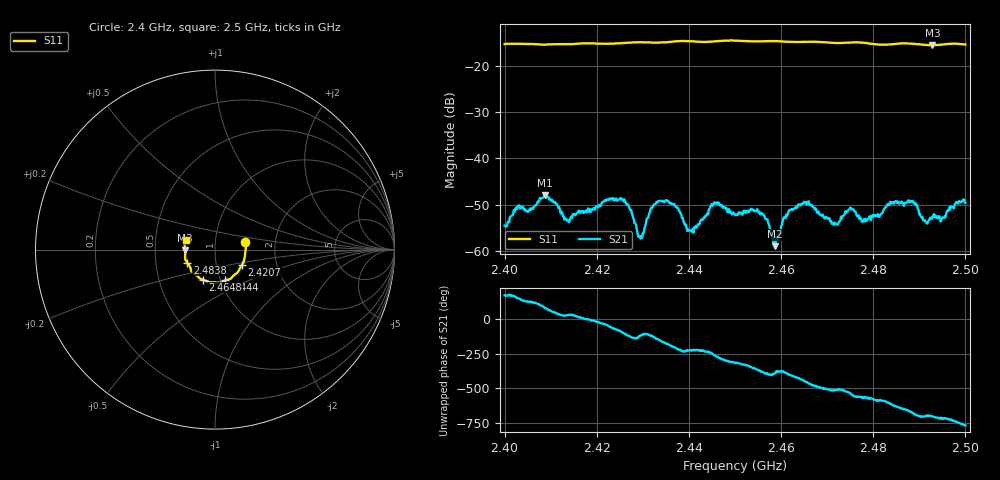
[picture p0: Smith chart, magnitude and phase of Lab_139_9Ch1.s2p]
# Hz S RI R 50
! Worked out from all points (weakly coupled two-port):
!   601 points, 2.4 GHz to 2.5 GHz, reference 50 ohm
!   highest |S21| = -47.95 dB at 2.4087 GHz (marker M1); lowest = -58.9 dB at 2.4587 GHz (marker M2)
!   lowest |S11| = -15.6 dB at 2.4928 GHz (marker M3), VSWR 1.40, Z = 35.7 - j0.297 ohm
!   |S11| at or under -10 dB: start of sweep to end of sweep
!   S12 and S22 are empty: the file has one direction only
!   S11 on the Smith chart (normalised r, x): 2.4 GHz: 1.39, +0.12; 2.4207 GHz: 1.33, -0.24; 2.444 GHz: 1.05, -0.37; 2.4648 GHz: 0.83, -0.29; 2.4838 GHz: 0.73, -0.11; 2.5 GHz: 0.72, +0.08
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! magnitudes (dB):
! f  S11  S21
! 2.4 GHz  -15.3  -54.5
! 2.4087 GHz  -15.4  -47.9
! 2.4135 GHz  -15.3  -53.4
! 2.4167 GHz  -15.2  -51.4
! 2.4207 GHz  -15.2  -50.2
! 2.4257 GHz  -15.1  -48.9
! 2.4295 GHz  -14.9  -57.3
! 2.4333 GHz  -15.0  -49.2
! 2.4372 GHz  -14.7  -50.3
! 2.4402 GHz  -14.7  -55.5
! 2.444 GHz  -14.9  -51.9
! 2.446 GHz  -14.7  -49.9
! 2.45 GHz  -14.6  -52.1
! 2.4553 GHz  -14.7  -51.9
! 2.4587 GHz  -14.7  -58.9
! 2.4648 GHz  -14.9  -49.6
! 2.4667 GHz  -14.8  -50.0
! 2.4718 GHz  -15.1  -54.2
! 2.4833 GHz  -15.4  -50.0
! 2.4838 GHz  -15.4  -49.7
! 2.4928 GHz  -15.6  -52.6
! 2.5 GHz  -15.4  -49.6
